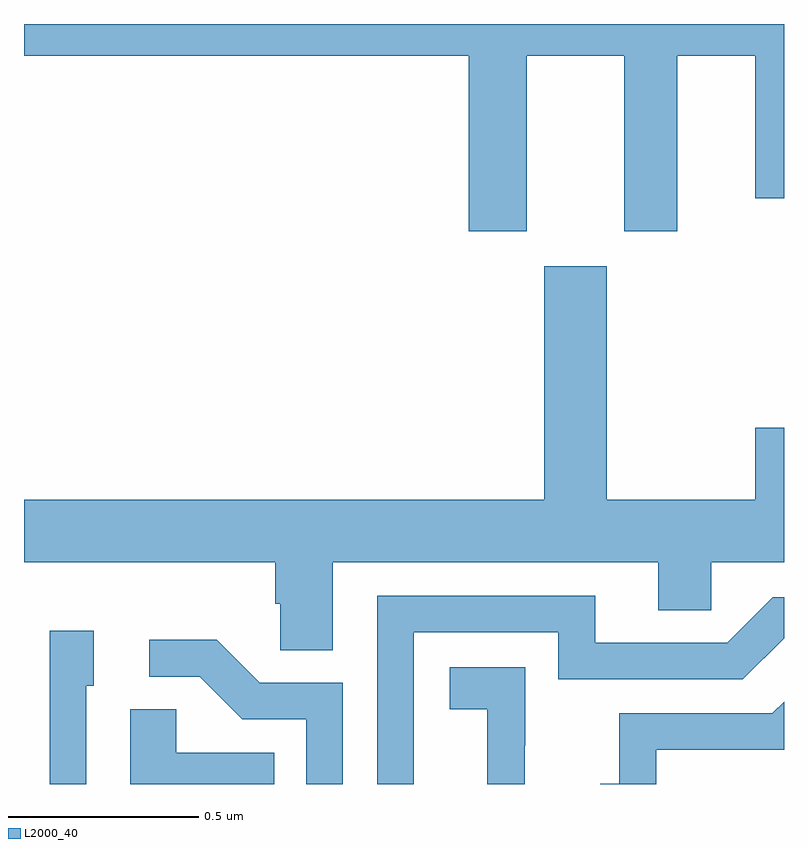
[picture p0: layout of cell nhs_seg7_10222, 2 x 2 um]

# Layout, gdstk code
import gdstk
lib = gdstk.Library(unit=1e-6, precision=1e-09)
def P(c, l, *ps):  # polygons
    for p in ps: c.add(gdstk.Polygon(p, *l))
L2000_40 = (2000, 40)

nhs_seg7_10222 = lib.new_cell('nhs_seg7_10222')
P(nhs_seg7_10222, L2000_40, [(248.323,1033.916),(248.579,1033.916),(248.579,1033.455),(248.719,1033.455),(248.719,1033.916),(248.924,1033.916),(248.924,1033.542),(249,1033.542),(249,1034),(247,1034),(247,1033.916),(248.171,1033.916),(248.171,1033.455),(248.323,1033.455)],
  [(247.813,1032.584),(248.669,1032.584),(248.669,1032.457),(248.808,1032.457),(248.808,1032.584),(249,1032.584),(249,1032.937),(248.924,1032.937),(248.924,1032.748),(248.533,1032.748),(248.533,1033.363),(248.369,1033.363),(248.369,1032.748),(247,1032.748),(247,1032.584),(247.661,1032.584),(247.661,1032.475),(247.674,1032.475),(247.674,1032.352),(247.813,1032.352)],
  [(248.025,1032.399),(248.406,1032.399),(248.406,1032.276),(248.892,1032.276),(249,1032.384),(249,1032.492),(248.97,1032.492),(248.85,1032.372),(248.503,1032.372),(248.503,1032.495),(247.929,1032.495),(247.929,1032),(248.025,1032)],
  [(247.164,1032.258),(247.183,1032.258),(247.183,1032.403),(247.068,1032.403),(247.068,1032),(247.164,1032)],
  [(247.839,1032.267),(247.62,1032.267),(247.507,1032.38),(247.329,1032.38),(247.329,1032.282),(247.463,1032.282),(247.574,1032.171),(247.743,1032.171),(247.743,1032),(247.839,1032)],
  [(248.318,1032.101),(248.319,1032.101),(248.319,1032.307),(248.121,1032.307),(248.121,1032.197),(248.219,1032.197),(248.219,1032),(248.318,1032)],
  [(248.664,1032.09),(249,1032.09),(249,1032.217),(248.969,1032.186),(248.566,1032.186),(248.566,1032.001),(248.517,1032.001),(248.517,1032),(248.664,1032)],
  [(247.658,1032.082),(247.401,1032.082),(247.401,1032.197),(247.28,1032.197),(247.28,1032),(247.658,1032)])

lib.write_gds('nhs_seg7_10222.gds')
